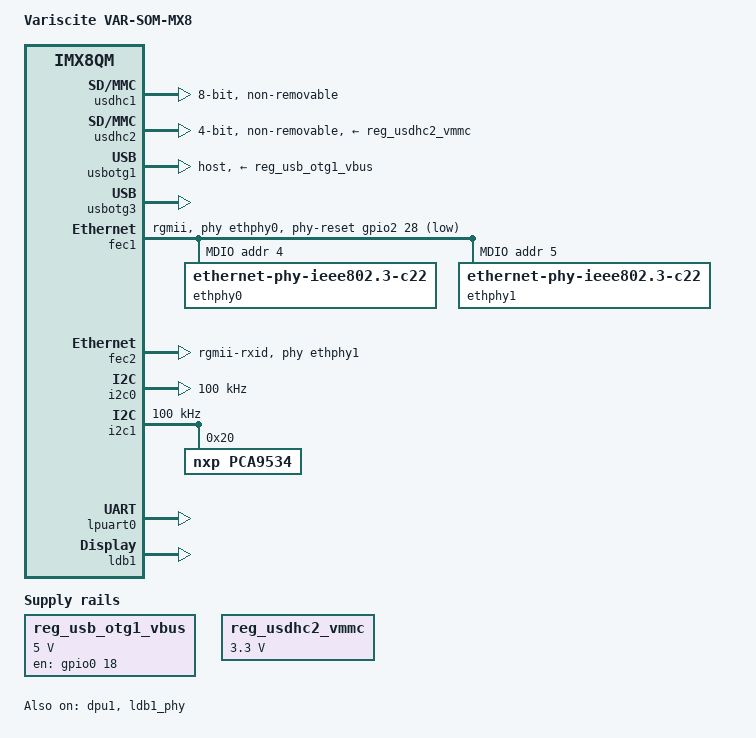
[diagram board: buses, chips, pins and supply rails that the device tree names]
// SPDX-License-Identifier: GPL-2.0+
/*
 * Copyright 2017-2018 NXP
 * Copyright 2019-2020 Variscite Ltd.
 */

/dts-v1/;

#include "fsl-imx8qm.dtsi"

/ {
	model = "Variscite VAR-SOM-MX8";
	compatible = "variscite,imx8qm-var-som", "fsl,imx8qm";

	chosen {
		bootargs = "console=ttyLP0,115200 earlycon";
		stdout-path = &lpuart0;
	};

	regulators {
		compatible = "simple-bus";
		#address-cells = <1>;
		#size-cells = <0>;

		reg_usb_otg1_vbus: regulator@0 {
			compatible = "regulator-fixed";
			regulator-name = "usb_otg1_vbus";
			regulator-min-microvolt = <5000000>;
			regulator-max-microvolt = <5000000>;
			gpio = <&gpio0 18 GPIO_ACTIVE_HIGH>;
			enable-active-high;
		};

		reg_usdhc2_vmmc: usdhc2_vmmc {
			compatible = "regulator-fixed";
			regulator-name = "sw-3p3-sd1";
			regulator-min-microvolt = <3300000>;
			regulator-max-microvolt = <3300000>;
			regulator-always-on;
		};
	};
};

&iomuxc {

	pinctrl-names = "default";

	imx8qm-var-som {

		pinctrl_fec1: fec1grp {
			fsl,pins = <
				SC_P_COMP_CTL_GPIO_1V8_3V3_ENET_ENETB_PAD	0x000014a0
				SC_P_ENET0_MDC_CONN_ENET0_MDC			0x06000048
				SC_P_ENET0_MDIO_CONN_ENET0_MDIO			0x06000048
				SC_P_ENET0_RGMII_TX_CTL_CONN_ENET0_RGMII_TX_CTL	0x00000061
				SC_P_ENET0_RGMII_TXC_CONN_ENET0_RGMII_TXC	0x00000061
				SC_P_ENET0_RGMII_TXD0_CONN_ENET0_RGMII_TXD0	0x00000061
				SC_P_ENET0_RGMII_TXD1_CONN_ENET0_RGMII_TXD1	0x00000061
				SC_P_ENET0_RGMII_TXD2_CONN_ENET0_RGMII_TXD2	0x00000061
				SC_P_ENET0_RGMII_TXD3_CONN_ENET0_RGMII_TXD3	0x00000061
				SC_P_ENET0_RGMII_RXC_CONN_ENET0_RGMII_RXC	0x00000061
				SC_P_ENET0_RGMII_RX_CTL_CONN_ENET0_RGMII_RX_CTL	0x00000061
				SC_P_ENET0_RGMII_RXD0_CONN_ENET0_RGMII_RXD0	0x00000061
				SC_P_ENET0_RGMII_RXD1_CONN_ENET0_RGMII_RXD1	0x00000061
				SC_P_ENET0_RGMII_RXD2_CONN_ENET0_RGMII_RXD2	0x00000061
				SC_P_ENET0_RGMII_RXD3_CONN_ENET0_RGMII_RXD3	0x00000061
				SC_P_ESAI0_TX2_RX3_LSIO_GPIO2_IO28 		0x00000021
			>;
		};

		pinctrl_fec2: fec2grp {
			fsl,pins = <
				SC_P_COMP_CTL_GPIO_1V8_3V3_ENET_ENETA_PAD	0x000014a0
				SC_P_ENET1_RGMII_TX_CTL_CONN_ENET1_RGMII_TX_CTL	0x00000060
				SC_P_ENET1_RGMII_TXC_CONN_ENET1_RGMII_TXC	0x00000060
				SC_P_ENET1_RGMII_TXD0_CONN_ENET1_RGMII_TXD0	0x00000060
				SC_P_ENET1_RGMII_TXD1_CONN_ENET1_RGMII_TXD1	0x00000060
				SC_P_ENET1_RGMII_TXD2_CONN_ENET1_RGMII_TXD2	0x00000060
				SC_P_ENET1_RGMII_TXD3_CONN_ENET1_RGMII_TXD3	0x00000060
				SC_P_ENET1_RGMII_RXC_CONN_ENET1_RGMII_RXC	0x00000060
				SC_P_ENET1_RGMII_RX_CTL_CONN_ENET1_RGMII_RX_CTL	0x00000060
				SC_P_ENET1_RGMII_RXD0_CONN_ENET1_RGMII_RXD0	0x00000060
				SC_P_ENET1_RGMII_RXD1_CONN_ENET1_RGMII_RXD1	0x00000060
				SC_P_ENET1_RGMII_RXD2_CONN_ENET1_RGMII_RXD2	0x00000060
				SC_P_ENET1_RGMII_RXD3_CONN_ENET1_RGMII_RXD3	0x00000060
			>;
		};

		pinctrl_lpuart0: lpuart0grp {
			fsl,pins = <
				SC_P_UART0_RX_DMA_UART0_RX			0x06000020
				SC_P_UART0_TX_DMA_UART0_TX			0x06000020
			>;
		};

		pinctrl_usdhc1: usdhc1grp {
			fsl,pins = <
				SC_P_EMMC0_CLK_CONN_EMMC0_CLK			0x06000041
				SC_P_EMMC0_CMD_CONN_EMMC0_CMD			0x00000021
				SC_P_EMMC0_DATA0_CONN_EMMC0_DATA0		0x00000021
				SC_P_EMMC0_DATA1_CONN_EMMC0_DATA1		0x00000021
				SC_P_EMMC0_DATA2_CONN_EMMC0_DATA2		0x00000021
				SC_P_EMMC0_DATA3_CONN_EMMC0_DATA3		0x00000021
				SC_P_EMMC0_DATA4_CONN_EMMC0_DATA4		0x00000021
				SC_P_EMMC0_DATA5_CONN_EMMC0_DATA5		0x00000021
				SC_P_EMMC0_DATA6_CONN_EMMC0_DATA6		0x00000021
				SC_P_EMMC0_DATA7_CONN_EMMC0_DATA7		0x00000021
				SC_P_EMMC0_STROBE_CONN_EMMC0_STROBE		0x00000041
				SC_P_EMMC0_RESET_B_CONN_EMMC0_RESET_B		0x00000021
			>;
		};

		pinctrl_usdhc2: usdhc2grp {
			fsl,pins = <
				SC_P_USDHC1_CLK_CONN_USDHC1_CLK			0x06000041
				SC_P_USDHC1_CMD_CONN_USDHC1_CMD			0x00000021
				SC_P_USDHC1_DATA0_CONN_USDHC1_DATA0		0x00000021
				SC_P_USDHC1_DATA1_CONN_USDHC1_DATA1		0x00000021
				SC_P_USDHC1_DATA2_CONN_USDHC1_DATA2		0x00000021
				SC_P_USDHC1_DATA3_CONN_USDHC1_DATA3		0x00000021
				SC_P_USDHC1_VSELECT_CONN_USDHC1_VSELECT		0x00000021
			>;
		};

		pinctrl_usdhc2_gpio: usdhc2grpgpio {
			fsl,pins = <
				SC_P_GPT0_CLK_LSIO_GPIO0_IO14			0x00000021
			>;
		};

		pinctrl_i2c0: lpi2c0grp {
			fsl,pins = <
				SC_P_HDMI_TX0_TS_SCL_DMA_I2C0_SCL		0x06000020
				SC_P_HDMI_TX0_TS_SDA_DMA_I2C0_SDA		0x06000020
			>;
		};

		pinctrl_i2c1: lpi2c1grp {
			fsl,pins = <
				SC_P_USB_SS3_TC3_DMA_I2C1_SDA			0x06000020
				SC_P_USB_SS3_TC1_DMA_I2C1_SCL			0x06000020
			>;
		};

		pinctrl_usbotg1: otg1grp {
			fsl,pins = <
				SC_P_GPT1_CAPTURE_LSIO_GPIO0_IO18		0x06000048
			>;
		};

		pinctrl_backlight: backlightgrp {
			fsl,pins = <
				SC_P_LVDS0_GPIO00_LSIO_GPIO1_IO04		0x00000020
			>;
		};
	};
};

&usdhc1 {
	pinctrl-names = "default", "state_100mhz", "state_200mhz";
	pinctrl-0 = <&pinctrl_usdhc1>;
	pinctrl-1 = <&pinctrl_usdhc1>;
	pinctrl-2 = <&pinctrl_usdhc1>;
	bus-width = <8>;
	non-removable;
	status = "okay";
};

&usdhc2 {
	pinctrl-names = "default", "state_100mhz", "state_200mhz";
	pinctrl-0 = <&pinctrl_usdhc2>, <&pinctrl_usdhc2_gpio>;
	pinctrl-1 = <&pinctrl_usdhc2>, <&pinctrl_usdhc2_gpio>;
	pinctrl-2 = <&pinctrl_usdhc2>, <&pinctrl_usdhc2_gpio>;
	bus-width = <4>;
	non-removable;
	no-1-8-v;
	vmmc-supply = <&reg_usdhc2_vmmc>;
	status = "okay";
};

&gpio1 {
	status = "disabled";
};

&gpio2 {
	status = "okay";
};

&gpio4 {
	status = "okay";
};

&gpio5 {
	status = "okay";
};

&usbotg1 {
	dr_mode = "host";
	pinctrl-names = "default";
	pinctrl-0 = <&pinctrl_usbotg1>;
	vbus-supply = <&reg_usb_otg1_vbus>;
	srp-disable;
	hnp-disable;
	adp-disable;
	disable-over-current;
	status = "okay";
};

&usbotg3 {
	status = "okay";
};

&fec1 {
	pinctrl-names = "default";
	pinctrl-0 = <&pinctrl_fec1>;
	phy-mode = "rgmii";
	phy-handle = <&ethphy0>;
	phy-reset-gpios = <&gpio2 28 GPIO_ACTIVE_LOW>;
	phy-reset-duration = <10>;
	phy-reset-post-delay = <100>;
	fsl,magic-packet;
	status = "okay";

	mdio {
		#address-cells = <1>;
		#size-cells = <0>;

		ethphy0: ethernet-phy@4 {
			compatible = "ethernet-phy-ieee802.3-c22";
			reg = <4>;
			at803x,eee-disabled;
			at803x,vddio-1p8v;
		};

		ethphy1: ethernet-phy@5 {
			compatible = "ethernet-phy-ieee802.3-c22";
			reg = <5>;
			at803x,eee-disabled;
			at803x,vddio-1p8v;
		};
	};
};

&fec2 {
	pinctrl-names = "default";
	pinctrl-0 = <&pinctrl_fec2>;
	phy-mode = "rgmii-rxid";
	phy-handle = <&ethphy1>;
	status = "okay";
};

&i2c0 {
	#address-cells = <1>;
	#size-cells = <0>;
	clock-frequency = <100000>;
	pinctrl-names = "default";
	pinctrl-0 = <&pinctrl_i2c0>;
	status = "okay";
};

&i2c1 {
	#address-cells = <1>;
	#size-cells = <0>;
	clock-frequency = <100000>;
	pinctrl-names = "default";
	pinctrl-0 = <&pinctrl_i2c1>;
	status = "okay";

	/* GPIO expander */
	pca9534: gpio@20 {
		compatible = "nxp,pca9534";
		reg = <0x20>;
		gpio-controller;
		#gpio-cells = <2>;

		usb3_sel_hog {
			gpio-hog;
			gpios = <4 0>;
			output-low;
			line-name = "usb3_sel";
		};

		eth1_phy_rst_hog {
			gpio-hog;
			gpios = <5 0>;
			output-high;
			line-name = "eth1_phy_rst";
		};
	
		eth1_phy_vsel_hog {
			gpio-hog;
			gpios = <6 0>;
			output-high;
			line-name = "eth1_phy_vsel";
		};

		eth1_phy_pwr_hog {
			gpio-hog;
			gpios = <7 0>;
			output-high;
			line-name = "eth1_phy_pwr";
		};
        };
};

&lpuart0 {
	pinctrl-names = "default";
	pinctrl-0 = <&pinctrl_lpuart0>;
	status = "okay";
};

&dpu1 {
	status = "okay";
};


&gpio1 {
	pinctrl-names = "default";
	pinctrl-0 = <&pinctrl_backlight>;

	lvds_backlight_hog {
		gpio-hog;
		gpios = <1 4>;
		output-high;
		line-name = "lvds_backlight";
	};
};

&ldb1_phy {
	status = "okay";
};

&ldb1 {
	status = "okay";

	lvds-channel@0 {
		fsl,data-mapping = "jeida";
		fsl,data-width = <24>;
		status = "okay";

		display-timings {
			native-mode = <&timing0>;

			timing0: timing0 {
				clock-frequency = <35714000>;
				hactive = <800>;
				vactive = <480>;
				hback-porch = <40>;
				hfront-porch = <40>;
				vback-porch = <29>;
				vfront-porch = <13>;
				hsync-len = <48>;
				vsync-len = <3>;
			};
		};
	};
};

&tsens {
	tsens-num = <6>;
};

&thermal_zones {
	pmic-thermal0 {
		polling-delay-passive = <250>;
		polling-delay = <2000>;
		thermal-sensors = <&tsens 5>;
		trips {
			pmic_alert0: trip0 {
				temperature = <110000>;
				hysteresis = <2000>;
				type = "passive";
			};
			pmic_crit0: trip1 {
				temperature = <125000>;
				hysteresis = <2000>;
				type = "critical";
			};
		};
		cooling-maps {
			map0 {
				trip = <&pmic_alert0>;
				cooling-device =
				<&A53_0 THERMAL_NO_LIMIT THERMAL_NO_LIMIT>;
			};
			map1 {
				trip = <&pmic_alert0>;
				cooling-device =
				<&A72_0 THERMAL_NO_LIMIT THERMAL_NO_LIMIT>;
			};
		};
	};
};
